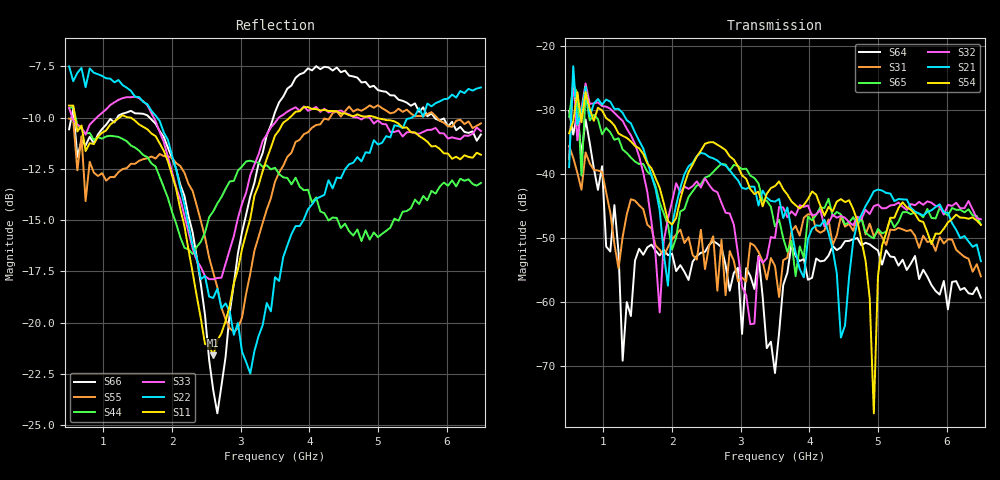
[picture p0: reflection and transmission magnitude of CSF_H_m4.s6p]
!Keysight Technologies,M9804A,MY58100912,A.14.10.03
!Date: Thursday, April 27, 2023 10:28:33
!Correction: S11(C  6-Port  )
!S12(C  6-Port  )
!S13(C  6-Port  )
!S14(C  6-Port  )
!S15(C  6-Port  )
!S16(C  6-Port  )
!S21(C  6-Port  )
!S22(C  6-Port  )
!S23(C  6-Port  )
!S24(C  6-Port  )
!S25(C  6-Port  )
!S26(C  6-Port  )
!S31(C  6-Port  )
!S32(C  6-Port  )
!S33(C  6-Port  )
!S34(C  6-Port  )
!S35(C  6-Port  )
!S36(C  6-Port  )
!S41(C  6-Port  )
!S42(C  6-Port  )
!S43(C  6-Port  )
!S44(C  6-Port  )
!S45(C  6-Port  )
!S46(C  6-Port  )
!S51(C  6-Port  )
!S52(C  6-Port  )
!S53(C  6-Port  )
!S54(C  6-Port  )
!S55(C  6-Port  )
!S56(C  6-Port  )
!S61(C  6-Port  )
!S62(C  6-Port  )
!S63(C  6-Port  )
!S64(C  6-Port  )
!S65(C  6-Port  )
!S66(C  6-Port  )
!S6P File: Measurement: :
# Hz S  RI  R 50
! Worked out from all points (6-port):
!   101 points, 500 MHz to 6.5 GHz, reference 50 ohm
!   strongest paths, dB at 500 MHz, 2 GHz, 3.5 GHz, 5 GHz, 6.5 GHz:
!     S54: -33.7, -48.0, -41.9, -56.0, -48.0
!     S21: -39.0, -48.0, -44.4, -42.5, -53.7
!     S32: -37.7, -44.3, -50.0, -44.8, -47.1
!     S65: -31.1, -51.9, -48.3, -48.6, -48.0
!     S31: -35.7, -50.3, -54.4, -48.9, -56.0
!     S64: -30.2, -52.5, -71.1, -52.0, -59.4
!   lowest |S11| = -21.6 dB at 2.6 GHz (marker M1), VSWR 1.18, Z = 42.6 + j2.01 ohm
!   |S11| at or under -10 dB: 587.7 MHz to 1.235 GHz (647.7 MHz wide, 71.1 % of centre); 1.393 GHz to 3.716 GHz (2.323 GHz wide, 90.9 % of centre); 4.971 GHz to end of sweep
